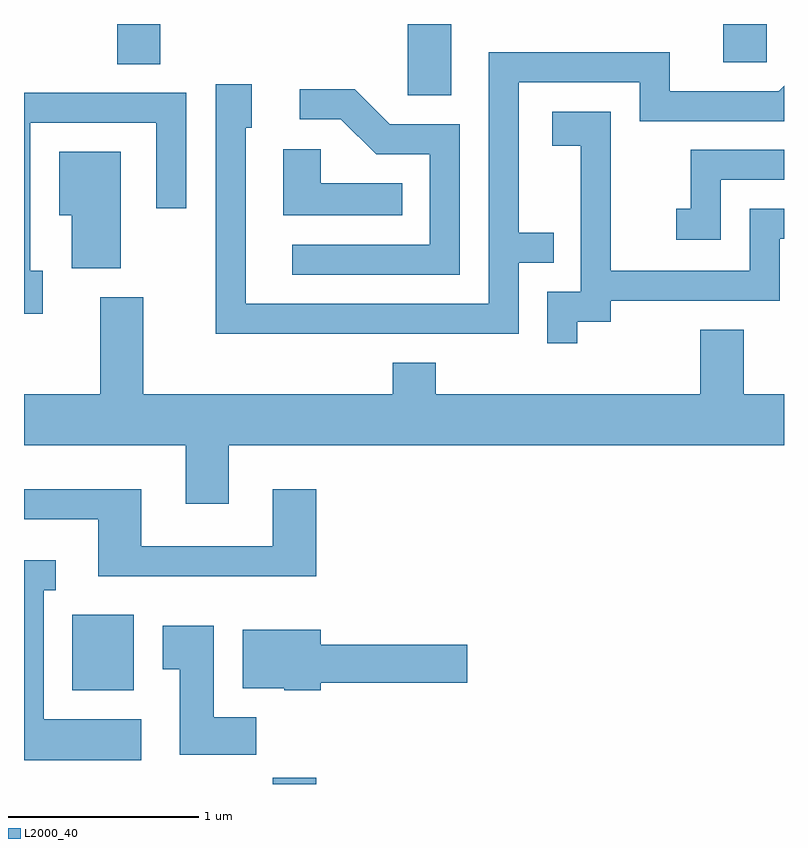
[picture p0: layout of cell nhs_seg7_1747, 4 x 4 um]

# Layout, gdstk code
import gdstk
lib = gdstk.Library(unit=1e-6, precision=1e-09)
def R(c, l, rs):  # rectangles x0, y0, x1, y1
    for r in rs: c.add(gdstk.rectangle(r[:2], r[2:], *l))
def P(c, l, *ps):  # polygons
    for p in ps: c.add(gdstk.Polygon(p, *l))
L2000_40 = (2000, 40)

nhs_seg7_1747 = lib.new_cell('nhs_seg7_1747')
R(nhs_seg7_1747, L2000_40, [(238.921,1770.252,239.149,1770.284), (237.866,1770.746,238.189,1771.144), (239.631,1773.876,239.859,1774.252), (238.101,1774.041,238.329,1774.252), (241.291,1774.051,241.519,1774.252)])
P(nhs_seg7_1747, L2000_40, [(240.214,1772.996),(240.398,1772.996),(240.398,1773.154),(240.214,1773.154),(240.214,1773.946),(240.851,1773.946),(240.851,1773.741),(241.611,1773.741),(241.611,1773.926),(241.584,1773.899),(241.009,1773.899),(241.009,1774.104),(240.056,1774.104),(240.056,1772.779),(238.779,1772.779),(238.779,1773.706),(238.809,1773.706),(238.809,1773.934),(238.621,1773.934),(238.621,1772.621),(240.214,1772.621)],
  [(239.904,1773.724),(239.537,1773.724),(239.352,1773.909),(239.063,1773.909),(239.063,1773.751),(239.279,1773.751),(239.464,1773.566),(239.746,1773.566),(239.746,1773.089),(239.023,1773.089),(239.023,1772.931),(239.904,1772.931)],
  [(237.709,1772.954),(237.644,1772.954),(237.644,1773.731),(238.306,1773.731),(238.306,1773.283),(238.464,1773.283),(238.464,1773.889),(237.611,1773.889),(237.611,1772.726),(237.709,1772.726)],
  [(240.524,1772.686),(240.699,1772.686),(240.699,1772.796),(241.589,1772.796),(241.589,1773.121),(241.611,1773.121),(241.611,1773.279),(241.431,1773.279),(241.431,1772.954),(240.699,1772.954),(240.699,1773.789),(240.391,1773.789),(240.391,1773.611),(240.541,1773.611),(240.541,1772.844),(240.366,1772.844),(240.366,1772.573),(240.524,1772.573)],
  [(239.603,1773.414),(239.174,1773.414),(239.174,1773.594),(238.976,1773.594),(238.976,1773.246),(239.603,1773.246)],
  [(241.279,1773.431),(241.611,1773.431),(241.611,1773.589),(241.121,1773.589),(241.121,1773.279),(241.043,1773.279),(241.043,1773.116),(241.279,1773.116)],
  [(238.119,1773.579),(237.796,1773.579),(237.796,1773.246),(237.861,1773.246),(237.861,1772.966),(238.119,1772.966)],
  [(238.689,1772.036),(241.611,1772.036),(241.611,1772.304),(241.399,1772.304),(241.399,1772.644),(241.171,1772.644),(241.171,1772.304),(239.779,1772.304),(239.779,1772.469),(239.551,1772.469),(239.551,1772.304),(238.239,1772.304),(238.239,1772.814),(238.011,1772.814),(238.011,1772.304),(237.611,1772.304),(237.611,1772.036),(238.461,1772.036),(238.461,1771.726),(238.689,1771.726)],
  [(239.149,1771.804),(238.921,1771.804),(238.921,1771.504),(238.229,1771.504),(238.229,1771.804),(237.611,1771.804),(237.611,1771.646),(238.001,1771.646),(238.001,1771.346),(239.149,1771.346)],
  [(238.229,1770.594),(237.714,1770.594),(237.714,1771.271),(237.778,1771.271),(237.778,1771.429),(237.611,1771.429),(237.611,1770.376),(238.229,1770.376)],
  [(238.834,1770.604),(238.609,1770.604),(238.609,1771.084),(238.341,1771.084),(238.341,1770.856),(238.431,1770.856),(238.431,1770.406),(238.834,1770.406)],
  [(239.174,1770.786),(239.944,1770.786),(239.944,1770.984),(239.174,1770.984),(239.174,1771.064),(238.761,1771.064),(238.761,1770.756),(238.98,1770.756),(238.98,1770.746),(239.174,1770.746)])

lib.write_gds('nhs_seg7_1747.gds')
